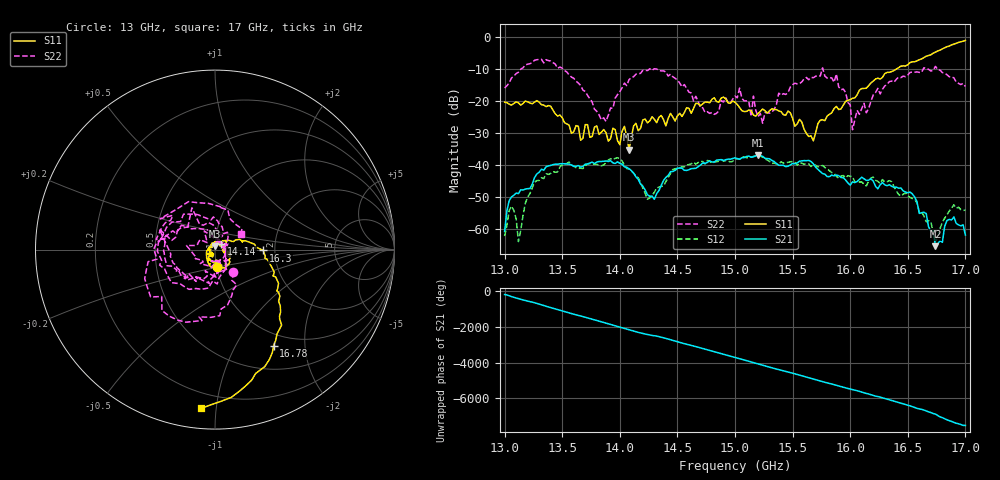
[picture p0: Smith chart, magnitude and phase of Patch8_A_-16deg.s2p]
!Keysight Technologies,P9374A,MY57211810,A.19.30.04
!Date: Friday, May 09, 2025 09:14:16
!Correction: S11(Cdelta 2-Port  )
!S21(Cdelta 2-Port  )
!S12(Cdelta 2-Port  )
!S22(Cdelta 2-Port  )
!S2P File: Measurements: S11, S21, S12, S22:
# Hz S  dB  R 50
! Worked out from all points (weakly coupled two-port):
!   201 points, 13 GHz to 17 GHz, reference 50 ohm
!   highest |S21| = -36.94 dB at 15.2 GHz (marker M1); lowest = -65.2 dB at 16.74 GHz (marker M2)
!   lowest |S11| = -35.1 dB at 14.08 GHz (marker M3), VSWR 1.04, Z = 50 + j1.76 ohm
!   |S11| at or under -10 dB: start of sweep to 16.4 GHz
!   |S22| runs from -28.9 to -6.9 dB; largest |S21 - S12| = 0.0036
!   S11 on the Smith chart (normalised r, x): 13 GHz: 1.00, -0.19; 14.14 GHz: 1.07, +0.07; 16.3 GHz: 1.74, -0.02; 16.78 GHz: 0.82, -1.45; 17 GHz: 0.11, -0.91
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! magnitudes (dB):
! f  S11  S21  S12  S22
! 13 GHz  -20.3  -60.7  -62.1  -15.9
! 13.06 GHz  -21.2  -49.8  -52.8  -12.7
! 13.12 GHz  -20.5  -48.9  -63.8  -10.9
! 13.32 GHz  -21.1  -41.2  -43.9  -6.9
! 13.68 GHz  -31.5  -40.4  -41.0  -16.6
! 13.88 GHz  -29.8  -38.7  -39.2  -26.3
! 14.08 GHz  -35.1  -41.1  -41.2  -13.3
! 14.14 GHz  -26.9  -43.6  -43.3  -11.5
! 14.34 GHz  -25.0  -47.9  -46.8  -10.4
! 14.74 GHz  -20.2  -39.4  -39.6  -23.5
! 15 GHz  -20.3  -37.7  -37.9  -18.4
! 15.2 GHz  -23.9  -36.9  -37.1  -24.8
! 15.68 GHz  -32.4  -39.5  -39.7  -12.7
! 15.88 GHz  -21.6  -43.1  -43.4  -11.5
! 16.02 GHz  -19.1  -45.2  -43.5  -28.9
! 16.3 GHz  -11.4  -46.1  -45.2  -15.2
! 16.34 GHz  -11.0  -46.1  -44.8  -13.9
! 16.56 GHz  -7.7  -49.9  -50.5  -10.9
! 16.74 GHz  -4.7  -65.2  -63.6  -9.1
! 16.78 GHz  -4.0  -63.6  -59.7  -10.3
! 16.9 GHz  -2.2  -56.1  -52.3  -12.7
! 17 GHz  -1.0  -61.8  -54.0  -15.4
